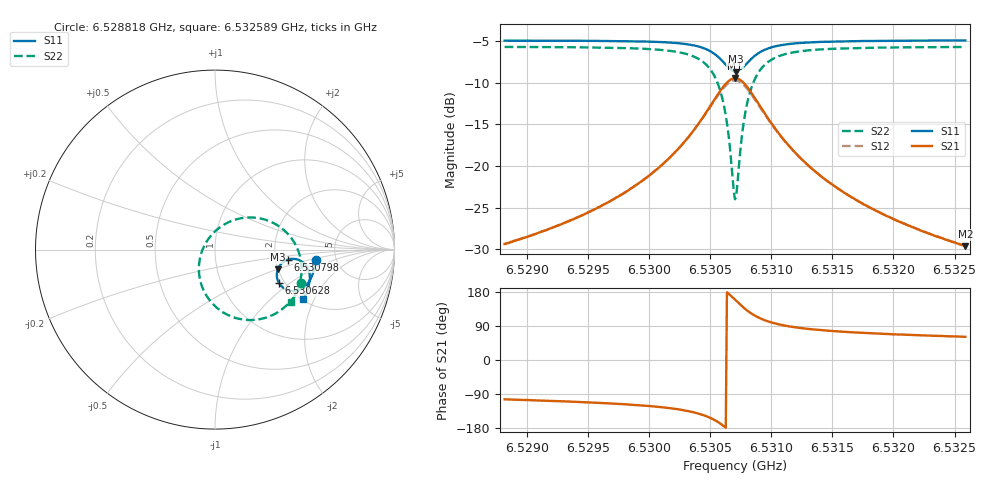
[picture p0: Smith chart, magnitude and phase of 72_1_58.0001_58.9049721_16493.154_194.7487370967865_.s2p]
#  HZ  S  RI  R  50.00
! Rohde & Schwarz Vector Network Analyzer
! Rohde-Schwarz,ZNB20-2Port,1311601062101988,3.16
! Created: UTC 3/21/2024, 12:53:26 AM
! freq[Hz]  re:S11  im:S11  re:S21  im:S21  re:S12  im:S12  re:S22  im:S22
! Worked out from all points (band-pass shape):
!   401 points, 6.528818 GHz to 6.532589 GHz, reference 50 ohm
!   highest |S21| = -9.49 dB at 6.530704 GHz (marker M1); lowest = -29.6 dB at 6.532589 GHz (marker M2)
!   |S21| within 3 dB of the highest: 6.530516 GHz to 6.530893 GHz (377.2 kHz wide, 0.00578 % of centre)
!   lowest |S11| = -8.7 dB at 6.530713 GHz (marker M3), VSWR 2.16, Z = 99.7 - j25.1 ohm
!   |S11| at or under -10 dB: nowhere
!   |S22| runs from -24.0 to -5.7 dB; largest |S21 - S12| = 0.014
!   S11 on the Smith chart (normalised r, x): 6.528818 GHz: 3.48, -0.58; 6.530628 GHz: 1.87, -0.84; 6.530798 GHz: 2.34, -0.31; 6.532589 GHz: 2.04, -1.66
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6.5288182e9  0.5607 -0.0572  -0.0081 -0.033  -0.00886 -0.0328  0.4816 -0.1878
6.5294498e9  0.5513 -0.1115  -0.0183 -0.047  -0.0194 -0.0467  0.4492 -0.2499
6.5297891e9  0.5409 -0.1447  -0.0305 -0.061  -0.0323 -0.0603  0.4162 -0.2926
6.5300814e9  0.5237 -0.1786  -0.0544 -0.0813  -0.0569 -0.0796  0.3622 -0.3406
6.5303076e9  0.494 -0.2106  -0.1005 -0.104  -0.1036 -0.1002  0.2695 -0.3833
6.5304679e9  0.4454 -0.2299  -0.1781 -0.11  -0.1805 -0.1023  0.1272 -0.3841
6.5305621e9  0.3952 -0.2214  -0.2564 -0.0771  -0.2548 -0.0657  -0.00233 -0.3126
6.5305998e9  0.3725 -0.2059  -0.29 -0.0433  -0.2851 -0.0314  -0.0523 -0.2486
6.5306281e9  0.3577 -0.1876  -0.3105 -0.00741  -0.3029 0.0039  -0.0791 -0.1844
6.5306564e9  0.3474 -0.1639  -0.3227 0.037  -0.3121 0.0465  -0.09 -0.1086
6.5306847e9  0.3445 -0.1365  -0.3219 0.0865  -0.3096 0.0929  -0.0788 -0.0275
6.5307035e9  0.3473 -0.1177  -0.3134 0.1195  -0.3004 0.1234  -0.0582 0.0244
6.530713e9  0.3502 -0.1088  -0.3066 0.135  -0.2937 0.1379  -0.0442 0.0486
6.5307695e9  0.3839 -0.0666  -0.2409 0.2065  -0.2308 0.2038  0.0767 0.1532
6.5307978e9  0.4061 -0.0559  -0.2009 0.2238  -0.1931 0.2202  0.1462 0.1749
6.5308638e9  0.4533 -0.0536  -0.1187 0.2276  -0.1148 0.2237  0.2845 0.1652
6.5309581e9  0.4952 -0.0755  -0.0475 0.1946  -0.0456 0.1925  0.4001 0.0934
6.5310995e9  0.5205 -0.1124  -0.00373 0.1445  -0.0026 0.1437  0.4646 -0.00871
6.5313351e9  0.5286 -0.1568  0.015 0.0948  0.0161 0.0944  0.4825 -0.1126
6.5316179e9  0.5244 -0.1931  0.0187 0.065  0.0196 0.0646  0.4738 -0.1813
6.5319667e9  0.5146 -0.2273  0.0181 0.0459  0.019 0.0456  0.4568 -0.2333
6.5325889e9  0.4926 -0.2768  0.0159 0.0289  0.0165 0.0288  0.4244 -0.294
